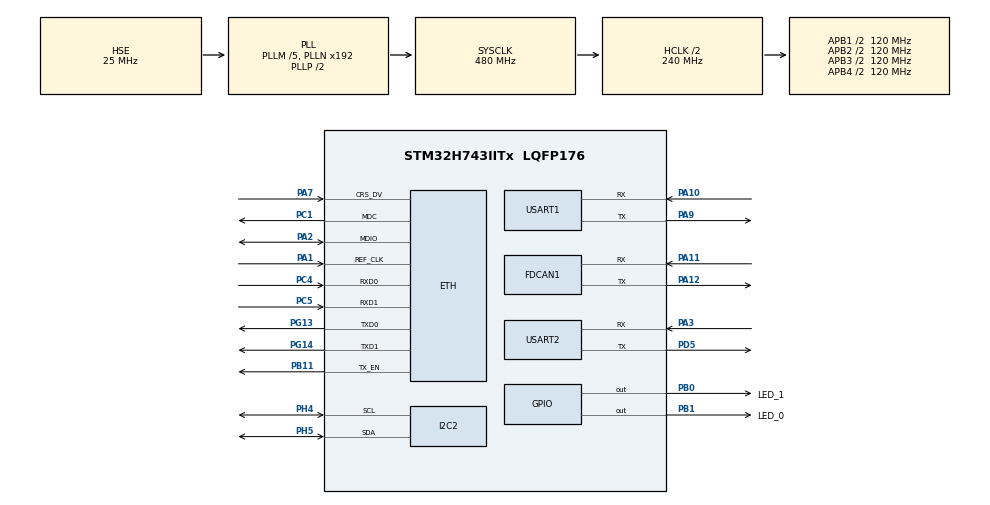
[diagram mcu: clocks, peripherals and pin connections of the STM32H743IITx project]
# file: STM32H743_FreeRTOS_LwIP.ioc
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CORTEX_M7.AccessPermission_S-Cortex_Memory_Protection_Unit_Region1_Settings_S=MPU_REGION_FULL_ACCESS
CORTEX_M7.AccessPermission_S-Cortex_Memory_Protection_Unit_Region2_Settings_S=MPU_REGION_FULL_ACCESS
CORTEX_M7.AccessPermission_Spec=MPU_REGION_NO_ACCESS
CORTEX_M7.BaseAddress_S-Cortex_Memory_Protection_Unit_Region1_Settings_S=0x30020000
CORTEX_M7.BaseAddress_S-Cortex_Memory_Protection_Unit_Region2_Settings_S=0x30040000
CORTEX_M7.BaseAddress_Spec=0x0
CORTEX_M7.CPU_DCache=Enabled
CORTEX_M7.CPU_ICache=Enabled
CORTEX_M7.DisableExec_S-Cortex_Memory_Protection_Unit_Region1_Settings_S=MPU_INSTRUCTION_ACCESS_DISABLE
CORTEX_M7.DisableExec_S-Cortex_Memory_Protection_Unit_Region2_Settings_S=MPU_INSTRUCTION_ACCESS_DISABLE
CORTEX_M7.Enable_S-Cortex_Memory_Protection_Unit_Region1_Settings_S=MPU_REGION_ENABLE
CORTEX_M7.Enable_S-Cortex_Memory_Protection_Unit_Region2_Settings_S=MPU_REGION_ENABLE
CORTEX_M7.IsBufferable_S-Cortex_Memory_Protection_Unit_Region1_Settings_S=MPU_ACCESS_NOT_BUFFERABLE
CORTEX_M7.IsBufferable_S-Cortex_Memory_Protection_Unit_Region2_Settings_S=MPU_ACCESS_BUFFERABLE
CORTEX_M7.IsShareable_S-Cortex_Memory_Protection_Unit_Region1_Settings_S=MPU_ACCESS_NOT_SHAREABLE
CORTEX_M7.IsShareable_S-Cortex_Memory_Protection_Unit_Region2_Settings_S=MPU_ACCESS_SHAREABLE
CORTEX_M7.IsShareable_Spec=MPU_ACCESS_SHAREABLE
CORTEX_M7.Size_S-Cortex_Memory_Protection_Unit_Region1_Settings_S=MPU_REGION_SIZE_128KB
CORTEX_M7.Size_S-Cortex_Memory_Protection_Unit_Region2_Settings_S=MPU_REGION_SIZE_512B
CORTEX_M7.Size_Spec=MPU_REGION_SIZE_4GB
CORTEX_M7.SubRegionDisable_Spec=0x87
CORTEX_M7.TypeExtField_S-Cortex_Memory_Protection_Unit_Region1_Settings_S=MPU_TEX_LEVEL1
CORTEX_M7.TypeExtField_Spec=MPU_TEX_LEVEL0
CORTEX_M7.default_mode_Activation=1
ETH.MediaInterface=HAL_ETH_RMII_MODE
ETH.RxDescAddress=0x30040000
ETH.TxDescAddress=0x30040100
FDCAN1.AutoRetransmission=ENABLE
FDCAN1.CalculateBaudRateNominal=500000
FDCAN1.CalculateTimeBitNominal=2000
FDCAN1.CalculateTimeQuantumNominal=50.0
FDCAN1.DataPrescaler=1
FDCAN1.DataSyncJumpWidth=4
FDCAN1.DataTimeSeg1=5
FDCAN1.DataTimeSeg2=4
FDCAN1.ExtFiltersNbr=1
FDCAN1.FrameFormat=FDCAN_FRAME_CLASSIC
FDCAN1.NominalPrescaler=1
FDCAN1.NominalSyncJumpWidth=8
FDCAN1.NominalTimeSeg1=31
FDCAN1.NominalTimeSeg2=8
FDCAN1.ProtocolException=ENABLE
FDCAN1.RxFifo0ElmtSize=FDCAN_DATA_BYTES_8
FDCAN1.RxFifo0ElmtsNbr=2
FDCAN1.StdFiltersNbr=1
FDCAN1.TxElmtSize=FDCAN_DATA_BYTES_8
FDCAN1.TxFifoQueueElmtsNbr=2
FREERTOS.HEAP_NUMBER=4
FREERTOS.INCLUDE_xTaskGetHandle=1
FREERTOS.Queues01=Uart1Queue,1024,uint8_t,0,Dynamic,NULL,NULL;Can1Queue,8,can_rx_msg_t,0,Dynamic,NULL,NULL;Uart2Queue,1024,uint8_t,0,Dynamic,NULL,NULL
FREERTOS.Tasks01=DefaultTask,24,1024,StartDefaultTask,Default,NULL,Dynamic,NULL,NULL;LedTask,10,256,StartLedTask,Default,NULL,Dynamic,NULL,NULL;Uart1Task,9,1024,StartUart1Task,Default,NULL,Dynamic,NULL,NULL;Can1Task,16,1024,StartCan1Task,Default,NULL,Dynamic,NULL,NULL;Uart2Task,8,1024,StartUart2Task,Default,NULL,Dynamic,NULL,NULL
FREERTOS.configENABLE_FPU=1
FREERTOS.configMINIMAL_STACK_SIZE=128
FREERTOS.configTOTAL_HEAP_SIZE=81920
FREERTOS.configUSE_IDLE_HOOK=1
FREERTOS.configUSE_NEWLIB_REENTRANT=1
FREERTOS.configUSE_POSIX_ERRNO=1
FREERTOS.configUSE_TICK_HOOK=1
I2C2.Timing=0x307075B1
LWIP.BSP.number=1
LWIP.CHECKSUM_CHECK_ICMP=0
LWIP.CHECKSUM_GEN_ICMP=0
LWIP.DEFAULT_THREAD_STACKSIZE=10240
LWIP.GATEWAY_ADDRESS=192.168.001.001
LWIP.IP_ADDRESS=192.168.001.111
LWIP.LWIP_DHCP=0
LWIP.LWIP_PERF=0
LWIP.LWIP_RAM_HEAP_POINTER=0x30020000
LWIP.LWIP_STATS=0
LWIP.MEM_SIZE=131048
LWIP.NETMASK_ADDRESS=255.255.255.000
LWIP.TCPIP_THREAD_STACKSIZE=8192
LWIP.TCP_MSS=1460
LWIP.TCP_SND_BUF=5840
LWIP.TCP_SND_QUEUELEN=16
LWIP.Version=v2.1.2_Cube
LWIP0.BSP.STBoard=false
LWIP0.BSP.api=BSP_COMPONENT_DRIVER
LWIP0.BSP.component=LAN8742
LWIP0.BSP.instance=LAN8742
LWIP0.BSP.name=Driver_PHY
LWIP0.BSP.semaphore=S_LAN8742
LWIP0.BSP.solution=LAN8742
Mcu.Family=STM32H7
Mcu.Name=STM32H743IITx
Mcu.Package=LQFP176
NVIC.ETH_IRQn=true\:5\:0\:false\:false\:true\:true\:true\:true\:true
NVIC.FDCAN1_IT0_IRQn=true\:5\:0\:false\:false\:true\:true\:true\:true\:true
NVIC.PriorityGroup=NVIC_PRIORITYGROUP_4
NVIC.TIM6_DAC_IRQn=true\:15\:0\:false\:false\:true\:false\:false\:true\:true
NVIC.TimeBase=TIM6_DAC_IRQn
NVIC.TimeBaseIP=TIM6
PA1.GPIO_Speed=GPIO_SPEED_FREQ_VERY_HIGH
PA1.Mode=RMII
PA1.Signal=ETH_REF_CLK
PA10.Mode=Asynchronous
PA10.Signal=USART1_RX
PA11.GPIO_Speed=GPIO_SPEED_FREQ_LOW
PA11.Mode=FDCAN_Activate
PA11.Signal=FDCAN1_RX
PA12.GPIO_Speed=GPIO_SPEED_FREQ_LOW
PA12.Mode=FDCAN_Activate
PA12.Signal=FDCAN1_TX
PA13\ (JTMS/SWDIO).Mode=Serial_Wire
PA13\ (JTMS/SWDIO).Signal=DEBUG_JTMS-SWDIO
PA14\ (JTCK/SWCLK).Mode=Serial_Wire
PA14\ (JTCK/SWCLK).Signal=DEBUG_JTCK-SWCLK
PA2.GPIO_Speed=GPIO_SPEED_FREQ_VERY_HIGH
PA2.Mode=RMII
PA2.Signal=ETH_MDIO
PA3.Mode=Asynchronous
PA3.Signal=USART2_RX
PA7.GPIO_Speed=GPIO_SPEED_FREQ_VERY_HIGH
PA7.Mode=RMII
PA7.Signal=ETH_CRS_DV
PA9.Mode=Asynchronous
PA9.Signal=USART1_TX
PB0.GPIO_Label=LED_1
PB0.Signal=GPIO_Output
PB1.GPIO_Label=LED_0
PB1.Signal=GPIO_Output
PB11.GPIO_Speed=GPIO_SPEED_FREQ_VERY_HIGH
PB11.Mode=RMII
PB11.Signal=ETH_TX_EN
PC1.GPIO_Speed=GPIO_SPEED_FREQ_VERY_HIGH
PC1.Mode=RMII
PC1.Signal=ETH_MDC
PC4.GPIO_Speed=GPIO_SPEED_FREQ_VERY_HIGH
PC4.Mode=RMII
PC4.Signal=ETH_RXD0
PC5.GPIO_Speed=GPIO_SPEED_FREQ_VERY_HIGH
PC5.Mode=RMII
PC5.Signal=ETH_RXD1
PD5.Mode=Asynchronous
PD5.Signal=USART2_TX
PG13.GPIO_Speed=GPIO_SPEED_FREQ_VERY_HIGH
PG13.Mode=RMII
PG13.Signal=ETH_TXD0
PG14.GPIO_Speed=GPIO_SPEED_FREQ_VERY_HIGH
PG14.Mode=RMII
PG14.Signal=ETH_TXD1
PH0-OSC_IN\ (PH0).Mode=HSE-External-Oscillator
PH0-OSC_IN\ (PH0).Signal=RCC_OSC_IN
PH1-OSC_OUT\ (PH1).Mode=HSE-External-Oscillator
PH1-OSC_OUT\ (PH1).Signal=RCC_OSC_OUT
PH4.Mode=I2C
PH4.Signal=I2C2_SCL
PH5.Mode=I2C
PH5.Signal=I2C2_SDA
ProjectManager.HeapSize=0x400
ProjectManager.StackSize=0x1000
ProjectManager.TargetToolchain=STM32CubeIDE
RCC.ADCFreq_Value=125000000
RCC.APB1Freq_Value=120000000
RCC.APB2Freq_Value=120000000
RCC.APB3Freq_Value=120000000
RCC.APB4Freq_Value=120000000
RCC.CortexFreq_Value=480000000
RCC.D1PPRE=RCC_APB3_DIV2
RCC.D2PPRE1=RCC_APB1_DIV2
RCC.D2PPRE2=RCC_APB2_DIV2
RCC.D3PPRE=RCC_APB4_DIV2
RCC.DIVM1=5
RCC.DIVM2=5
RCC.DIVM3=5
RCC.DIVN1=192
RCC.DIVN2=50
RCC.DIVN3=50
RCC.DIVQ1=48
RCC.HCLKFreq_Value=240000000
RCC.HPRE=RCC_HCLK_DIV2
RCC.PLLSourceVirtual=RCC_PLLSOURCE_HSE
RCC.PWR_Regulator_Voltage_Scale=PWR_REGULATOR_VOLTAGE_SCALE0
RCC.ProductRev=revV
RCC.SYSCLKFreq_VALUE=480000000
RCC.SYSCLKSource=RCC_SYSCLKSOURCE_PLLCLK
RCC.USBFreq_Value=20000000
USART1.VirtualMode-Asynchronous=VM_ASYNC
USART2.SwapParam=ADVFEATURE_SWAP_DISABLE
USART2.VirtualMode-Asynchronous=VM_ASYNC
VP_FREERTOS_VS_CMSIS_V2.Mode=CMSIS_V2
VP_LWIP_VS_Enabled.Mode=Enabled
VP_MEMORYMAP_VS_MEMORYMAP.Mode=CurAppReg
VP_SYS_VS_tim6.Mode=TIM6
board=custom

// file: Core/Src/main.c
/* USER CODE BEGIN Header */
/**
  ******************************************************************************
  * @file           : main.c
  * @brief          : Main program body
  ******************************************************************************
  * @attention
  *
  * Copyright (c) 2024 STMicroelectronics.
  * All rights reserved.
  *
  * This software is licensed under terms that can be found in the LICENSE file
  * in the root directory of this software component.
  * If no LICENSE file comes with this software, it is provided AS-IS.
  *
  ******************************************************************************
  */
/* USER CODE END Header */
#include "main.h"
#include "cmsis_os.h"
#include "fdcan.h"
#include "i2c.h"
#include "lwip.h"
#include "memorymap.h"
#include "usart.h"
#include "gpio.h"

/* USER CODE BEGIN Includes */
#include "pcf8574.h"
/* USER CODE END Includes */

void SystemClock_Config(void);
static void MPU_Config(void);
void MX_FREERTOS_Init(void);

int main(void)
{

  __disable_irq();

  /* MPU Configuration--------------------------------------------------------*/
  MPU_Config();

  /* Enable the CPU Cache */

  /* Enable I-Cache---------------------------------------------------------*/
  SCB_EnableICache();

  /* Enable D-Cache---------------------------------------------------------*/
  SCB_EnableDCache();

  /* MCU Configuration--------------------------------------------------------*/

  /* Reset of all peripherals, Initializes the Flash interface and the Systick. */
  HAL_Init();

  /* Configure the system clock */
  SystemClock_Config();

  /* USER CODE BEGIN SysInit */
  __HAL_RCC_D2SRAM3_CLK_ENABLE();
  /* USER CODE END SysInit */

  /* Initialize all configured peripherals */
  MX_GPIO_Init();
  MX_USART1_UART_Init();
  MX_I2C2_Init();
  MX_FDCAN1_Init();
  MX_USART2_UART_Init();
  /* USER CODE BEGIN 2 */
  __enable_irq();
  PCF8574_Init();
  PCF8574_WritePin(RS485_RE_IO, GPIO_PIN_SET);
  HAL_Delay(100);
  PCF8574_WritePin(ETH_RESET_IO, GPIO_PIN_SET);
  HAL_Delay(100);
  PCF8574_WritePin(ETH_RESET_IO, GPIO_PIN_RESET);
  /* USER CODE END 2 */

  /* Init scheduler */
  osKernelInitialize();

  /* Call init function for freertos objects (in cmsis_os2.c) */
  MX_FREERTOS_Init();

  /* Start scheduler */
  osKernelStart();

  /* We should never get here as control is now taken by the scheduler */

  /* Infinite loop */
  while (1)
  {

  }
}

void SystemClock_Config(void)
{
  RCC_OscInitTypeDef RCC_OscInitStruct = {0};
  RCC_ClkInitTypeDef RCC_ClkInitStruct = {0};

  /** Supply configuration update enable
  */
  HAL_PWREx_ConfigSupply(PWR_LDO_SUPPLY);

  /** Configure the main internal regulator output voltage
  */
  __HAL_PWR_VOLTAGESCALING_CONFIG(PWR_REGULATOR_VOLTAGE_SCALE1);

  while(!__HAL_PWR_GET_FLAG(PWR_FLAG_VOSRDY)) {}

  __HAL_RCC_SYSCFG_CLK_ENABLE();
  __HAL_PWR_VOLTAGESCALING_CONFIG(PWR_REGULATOR_VOLTAGE_SCALE0);

  while(!__HAL_PWR_GET_FLAG(PWR_FLAG_VOSRDY)) {}

  /** Initializes the RCC Oscillators according to the specified parameters
  * in the RCC_OscInitTypeDef structure.
  */
  RCC_OscInitStruct.OscillatorType = RCC_OSCILLATORTYPE_HSE;
  RCC_OscInitStruct.HSEState = RCC_HSE_ON;
  RCC_OscInitStruct.PLL.PLLState = RCC_PLL_ON;
  RCC_OscInitStruct.PLL.PLLSource = RCC_PLLSOURCE_HSE;
  RCC_OscInitStruct.PLL.PLLM = 5;
  RCC_OscInitStruct.PLL.PLLN = 192;
  RCC_OscInitStruct.PLL.PLLP = 2;
  RCC_OscInitStruct.PLL.PLLQ = 48;
  RCC_OscInitStruct.PLL.PLLR = 2;
  RCC_OscInitStruct.PLL.PLLRGE = RCC_PLL1VCIRANGE_2;
  RCC_OscInitStruct.PLL.PLLVCOSEL = RCC_PLL1VCOWIDE;
  RCC_OscInitStruct.PLL.PLLFRACN = 0;
  if (HAL_RCC_OscConfig(&RCC_OscInitStruct) != HAL_OK)
  {
    Error_Handler();
  }

  /** Initializes the CPU, AHB and APB buses clocks
  */
  RCC_ClkInitStruct.ClockType = RCC_CLOCKTYPE_HCLK|RCC_CLOCKTYPE_SYSCLK
                              |RCC_CLOCKTYPE_PCLK1|RCC_CLOCKTYPE_PCLK2
                              |RCC_CLOCKTYPE_D3PCLK1|RCC_CLOCKTYPE_D1PCLK1;
  RCC_ClkInitStruct.SYSCLKSource = RCC_SYSCLKSOURCE_PLLCLK;
  RCC_ClkInitStruct.SYSCLKDivider = RCC_SYSCLK_DIV1;
  RCC_ClkInitStruct.AHBCLKDivider = RCC_HCLK_DIV2;
  RCC_ClkInitStruct.APB3CLKDivider = RCC_APB3_DIV2;
  RCC_ClkInitStruct.APB1CLKDivider = RCC_APB1_DIV2;
  RCC_ClkInitStruct.APB2CLKDivider = RCC_APB2_DIV2;
  RCC_ClkInitStruct.APB4CLKDivider = RCC_APB4_DIV2;

  if (HAL_RCC_ClockConfig(&RCC_ClkInitStruct, FLASH_LATENCY_4) != HAL_OK)
  {
    Error_Handler();
  }
}

 /* MPU Configuration */

void MPU_Config(void)
{
  MPU_Region_InitTypeDef MPU_InitStruct = {0};

  /* Disables the MPU */
  HAL_MPU_Disable();

  /** Initializes and configures the Region and the memory to be protected
  */
  MPU_InitStruct.Enable = MPU_REGION_ENABLE;
  MPU_InitStruct.Number = MPU_REGION_NUMBER0;
  MPU_InitStruct.BaseAddress = 0x0;
  MPU_InitStruct.Size = MPU_REGION_SIZE_4GB;
  MPU_InitStruct.SubRegionDisable = 0x87;
  MPU_InitStruct.TypeExtField = MPU_TEX_LEVEL0;
  MPU_InitStruct.AccessPermission = MPU_REGION_NO_ACCESS;
  MPU_InitStruct.DisableExec = MPU_INSTRUCTION_ACCESS_DISABLE;
  MPU_InitStruct.IsShareable = MPU_ACCESS_SHAREABLE;
  MPU_InitStruct.IsCacheable = MPU_ACCESS_NOT_CACHEABLE;
  MPU_InitStruct.IsBufferable = MPU_ACCESS_NOT_BUFFERABLE;

  HAL_MPU_ConfigRegion(&MPU_InitStruct);

  /** Initializes and configures the Region and the memory to be protected
  */
  MPU_InitStruct.Number = MPU_REGION_NUMBER1;
  MPU_InitStruct.BaseAddress = 0x30020000;
  MPU_InitStruct.Size = MPU_REGION_SIZE_128KB;
  MPU_InitStruct.SubRegionDisable = 0x0;
  MPU_InitStruct.TypeExtField = MPU_TEX_LEVEL1;
  MPU_InitStruct.AccessPermission = MPU_REGION_FULL_ACCESS;
  MPU_InitStruct.IsShareable = MPU_ACCESS_NOT_SHAREABLE;

  HAL_MPU_ConfigRegion(&MPU_InitStruct);

  /** Initializes and configures the Region and the memory to be protected
  */
  MPU_InitStruct.Number = MPU_REGION_NUMBER2;
  MPU_InitStruct.BaseAddress = 0x30040000;
  MPU_InitStruct.Size = MPU_REGION_SIZE_512B;
  MPU_InitStruct.TypeExtField = MPU_TEX_LEVEL0;
  MPU_InitStruct.IsShareable = MPU_ACCESS_SHAREABLE;
  MPU_InitStruct.IsBufferable = MPU_ACCESS_BUFFERABLE;

  HAL_MPU_ConfigRegion(&MPU_InitStruct);
  /* Enables the MPU */
  HAL_MPU_Enable(MPU_PRIVILEGED_DEFAULT);

}

void HAL_TIM_PeriodElapsedCallback(TIM_HandleTypeDef *htim)
{
  if (htim->Instance == TIM6) {
    HAL_IncTick();
  }
}

void Error_Handler(void)
{
  __disable_irq();
  while (1)
  {
  }
}

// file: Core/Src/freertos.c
/* USER CODE BEGIN Header */
/**
  ******************************************************************************
  * File Name          : freertos.c
  * Description        : Code for freertos applications
  ******************************************************************************
  * @attention
  *
  * Copyright (c) 2024 STMicroelectronics.
  * All rights reserved.
  *
  * This software is licensed under terms that can be found in the LICENSE file
  * in the root directory of this software component.
  * If no LICENSE file comes with this software, it is provided AS-IS.
  *
  ******************************************************************************
  */
/* USER CODE END Header */

#include "FreeRTOS.h"
#include "task.h"
#include "main.h"
#include "cmsis_os.h"

/* USER CODE BEGIN Includes */
#include "lwip/apps/lwiperf.h"
#include "lwip.h"
#include "usart.h"
#include "fdcan.h"
#include <string.h>
/* USER CODE END Includes */

/* USER CODE BEGIN Variables */
volatile uint32_t ulIdleTickCount = 0;
TaskHandle_t xIdleTaskHandle = NULL;
/* USER CODE END Variables */
/* Definitions for DefaultTask */
osThreadId_t DefaultTaskHandle;
const osThreadAttr_t DefaultTask_attributes = {
  .name = "DefaultTask",
  .stack_size = 1024 * 4,
  .priority = (osPriority_t) osPriorityNormal,
};
/* Definitions for LedTask */
osThreadId_t LedTaskHandle;
const osThreadAttr_t LedTask_attributes = {
  .name = "LedTask",
  .stack_size = 256 * 4,
  .priority = (osPriority_t) osPriorityLow2,
};
/* Definitions for Uart1Task */
osThreadId_t Uart1TaskHandle;
const osThreadAttr_t Uart1Task_attributes = {
  .name = "Uart1Task",
  .stack_size = 1024 * 4,
  .priority = (osPriority_t) osPriorityLow1,
};
/* Definitions for Can1Task */
osThreadId_t Can1TaskHandle;
const osThreadAttr_t Can1Task_attributes = {
  .name = "Can1Task",
  .stack_size = 1024 * 4,
  .priority = (osPriority_t) osPriorityBelowNormal,
};
/* Definitions for Uart2Task */
osThreadId_t Uart2TaskHandle;
const osThreadAttr_t Uart2Task_attributes = {
  .name = "Uart2Task",
  .stack_size = 1024 * 4,
  .priority = (osPriority_t) osPriorityLow,
};
/* Definitions for Uart1Queue */
osMessageQueueId_t Uart1QueueHandle;
const osMessageQueueAttr_t Uart1Queue_attributes = {
  .name = "Uart1Queue"
};
/* Definitions for Can1Queue */
osMessageQueueId_t Can1QueueHandle;
const osMessageQueueAttr_t Can1Queue_attributes = {
  .name = "Can1Queue"
};
/* Definitions for Uart2Queue */
osMessageQueueId_t Uart2QueueHandle;
const osMessageQueueAttr_t Uart2Queue_attributes = {
  .name = "Uart2Queue"
};

/* USER CODE BEGIN FunctionPrototypes */
void vCalculateCPUUsage() {
    static uint32_t ulLastIdleTickCount = 0;
    uint32_t ulCurrentIdleTickCount = ulIdleTickCount;
    uint32_t ulIdleTicks = ulCurrentIdleTickCount - ulLastIdleTickCount;
    ulLastIdleTickCount = ulCurrentIdleTickCount;

    uint32_t ulTotalTicks = configTICK_RATE_HZ;
    uint32_t ulCPUUsage = 100 - (ulIdleTicks * 100 / ulTotalTicks);
	printf("CPU Usage: %lu%%\n", ulCPUUsage);
}

void vCalculateRAMUsage() {
	TaskHandle_t xHandle = xTaskGetHandle("tcpip_thread");
	UBaseType_t uxHighWaterMark = uxTaskGetStackHighWaterMark(xHandle);
	printf("Stack Usage: %lu\n", uxHighWaterMark);
}
/* USER CODE END FunctionPrototypes */

void StartDefaultTask(void *argument);
void StartLedTask(void *argument);
void StartUart1Task(void *argument);
void StartCan1Task(void *argument);
void StartUart2Task(void *argument);

extern void MX_LWIP_Init(void);
void MX_FREERTOS_Init(void); /* (MISRA C 2004 rule 8.1) */

/* Hook prototypes */
void vApplicationIdleHook(void);
void vApplicationTickHook(void);

/* USER CODE BEGIN 2 */
void vApplicationIdleHook( void )
{
   /* vApplicationIdleHook() will only be called if configUSE_IDLE_HOOK is set
   to 1 in FreeRTOSConfig.h. It will be called on each iteration of the idle
   task. It is essential that code added to this hook function never attempts
   to block in any way (for example, call xQueueReceive() with a block time
   specified, or call vTaskDelay()). If the application makes use of the
   vTaskDelete() API function (as this demo application does) then it is also
   important that vApplicationIdleHook() is permitted to return to its calling
   function, because it is the responsibility of the idle task to clean up
   memory allocated by the kernel to any task that has since been deleted. */
    if( xIdleTaskHandle == NULL )
    {
        /* Store the handle to the idle task. */
    	xIdleTaskHandle = xTaskGetCurrentTaskHandle();
    }
}
/* USER CODE END 2 */

/* USER CODE BEGIN 3 */
void vApplicationTickHook( void )
{
   /* This function will be called by each tick interrupt if
   configUSE_TICK_HOOK is set to 1 in FreeRTOSConfig.h. User code can be
   added here, but the tick hook is called from an interrupt context, so
   code must not attempt to block, and only the interrupt safe FreeRTOS API
   functions can be used (those that end in FromISR()). */
	if (xTaskGetCurrentTaskHandle() == xIdleTaskHandle) {
		ulIdleTickCount++;
	}
}
/* USER CODE END 3 */

void MX_FREERTOS_Init(void) {

  /* Create the queue(s) */
  /* creation of Uart1Queue */
  Uart1QueueHandle = osMessageQueueNew (1024, sizeof(uint8_t), &Uart1Queue_attributes);

  /* creation of Can1Queue */
  Can1QueueHandle = osMessageQueueNew (8, sizeof(can_rx_msg_t), &Can1Queue_attributes);

  /* creation of Uart2Queue */
  Uart2QueueHandle = osMessageQueueNew (1024, sizeof(uint8_t), &Uart2Queue_attributes);

  /* Create the thread(s) */
  /* creation of DefaultTask */
  DefaultTaskHandle = osThreadNew(StartDefaultTask, NULL, &DefaultTask_attributes);

  /* creation of LedTask */
  LedTaskHandle = osThreadNew(StartLedTask, NULL, &LedTask_attributes);

  /* creation of Uart1Task */
  Uart1TaskHandle = osThreadNew(StartUart1Task, NULL, &Uart1Task_attributes);

  /* creation of Can1Task */
  Can1TaskHandle = osThreadNew(StartCan1Task, NULL, &Can1Task_attributes);

  /* creation of Uart2Task */
  Uart2TaskHandle = osThreadNew(StartUart2Task, NULL, &Uart2Task_attributes);

}

void StartDefaultTask(void *argument)
{
  /* init code for LWIP */
  MX_LWIP_Init();
  /* USER CODE BEGIN StartDefaultTask */
  LOCK_TCPIP_CORE();
  lwiperf_start_tcp_server_default(NULL, NULL);
  UNLOCK_TCPIP_CORE();
  /* Infinite loop */
  for(;;)
  {
	HAL_GPIO_TogglePin(LED_1_GPIO_Port, LED_1_Pin);
	osDelay(500);
  }
  /* USER CODE END StartDefaultTask */
}

void StartLedTask(void *argument)
{
  /* USER CODE BEGIN StartLedTask */
  /* Infinite loop */
  for(;;)
  {
	vCalculateCPUUsage();
	vCalculateRAMUsage();
	osDelay(1000);
  }
  /* USER CODE END StartLedTask */
}

void StartUart1Task(void *argument)
{
  /* USER CODE BEGIN StartUart1Task */
  uint8_t c;
  /* Infinite loop */
  for(;;)
  {
	if (osMessageQueueGet(Uart1QueueHandle, &c, NULL, osWaitForever) == osOK) {
	  HAL_UART_Transmit(&huart1, &c, 1, HAL_MAX_DELAY);
	}
	osDelay(1);
  }
  /* USER CODE END StartUart1Task */
}

void StartCan1Task(void *argument)
{
  /* USER CODE BEGIN StartCan1Task */
  CAN_Filter_Config();
  HAL_FDCAN_ActivateNotification(&hfdcan1, FDCAN_IT_RX_FIFO0_NEW_MESSAGE, 0);
  HAL_FDCAN_Start(&hfdcan1);
  /* Infinite loop */
  for(;;)
  {
	if (osMessageQueueGet(Can1QueueHandle, &can_rx_msg, NULL, osWaitForever) == osOK) {
	  HAL_FDCAN_AddMessageToTxFifoQ(&hfdcan1, &can_tx_msg.txHeader, can_rx_msg.data);
	}
	osDelay(1);
  }
  /* USER CODE END StartCan1Task */
}

void StartUart2Task(void *argument)
{
  /* USER CODE BEGIN StartUart2Task */
  uint8_t c;
  /* Infinite loop */
  for(;;)
  {
	if (osMessageQueueGet(Uart2QueueHandle, &c, NULL, 0) == osOK) {
	  HAL_UART_Transmit(&huart2, &c, 1, HAL_MAX_DELAY);
	}
	osDelay(1);
  }
  /* USER CODE END StartUart2Task */
}

/* USER CODE BEGIN Application */
void HAL_FDCAN_RxFifo0Callback(FDCAN_HandleTypeDef *hfdcan, uint32_t RxFifo0ITs) {
  if (hfdcan->Instance == FDCAN1 && (RxFifo0ITs & FDCAN_IT_RX_FIFO0_NEW_MESSAGE) != RESET) {
	  if (HAL_FDCAN_GetRxMessage(hfdcan, FDCAN_RX_FIFO0, &can_rx_msg.rxHeader, can_rx_msg.data) == HAL_OK) {
		  osMessageQueuePut(Can1QueueHandle, &can_rx_msg, 0, 0);
	  }
  }
}

int __io_putchar(int ch) {
    char c = (char)ch;
    osMessageQueuePut(Uart1QueueHandle, &c, 0, 0);
    osMessageQueuePut(Uart2QueueHandle, &c, 0, 0);
    return ch;
}
/* USER CODE END Application */
